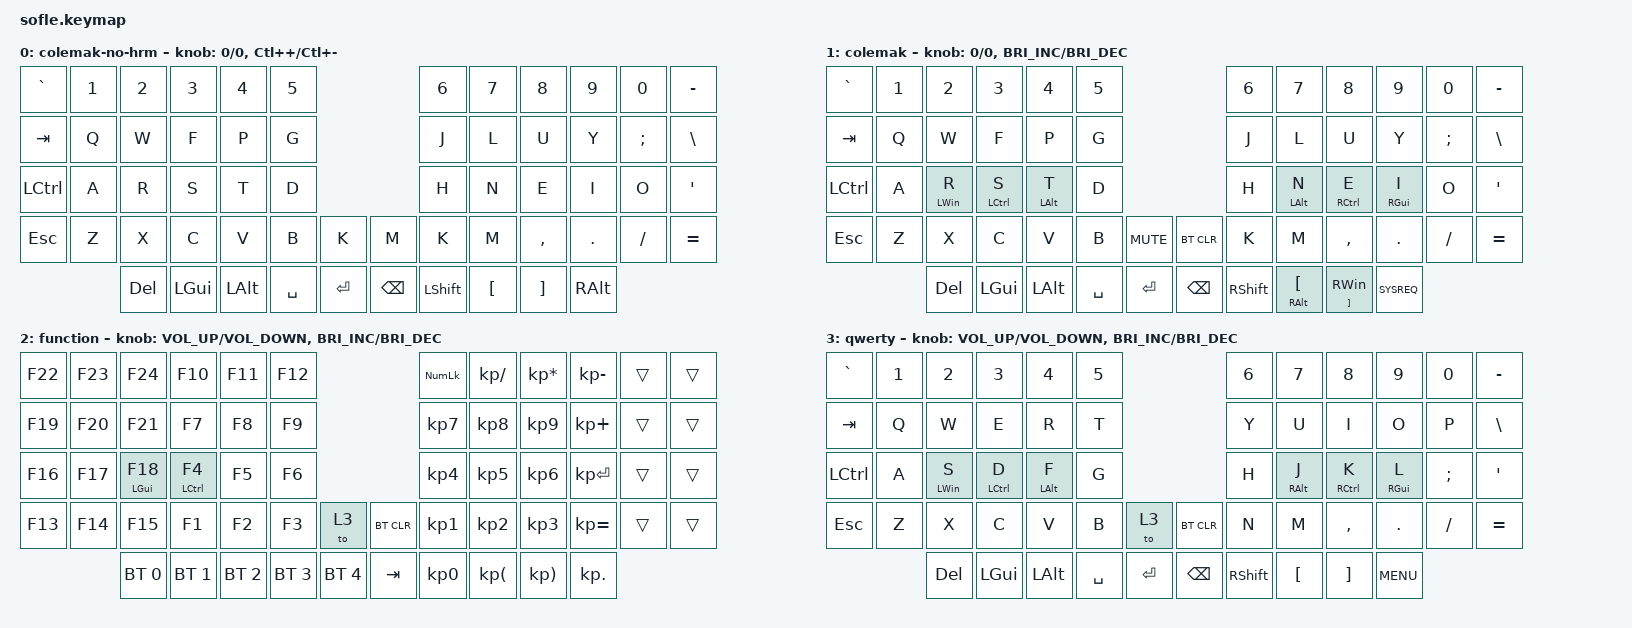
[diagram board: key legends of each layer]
/*
 * Copyright (c) 2020 The ZMK Contributors
 *
 * SPDX-License-Identifier: MIT
 */

#define ZMK_POINTING_DEFAULT_MOVE_VAL 1200  // 600
#define ZMK_POINTING_DEFAULT_SCRL_VAL 25   // 10

#include <behaviors.dtsi>
#include <dt-bindings/zmk/bt.h>
#include <dt-bindings/zmk/keys.h>

#define BASE 0
#define LOWER 1
#define RAISE 2
#define ADJUST 3

&msc {
    acceleration-exponent = <1>;      // 0
    time-to-max-speed-ms = <100>;       // 300
    delay-ms = <0>;                   // 0
};

&mmv {
    time-to-max-speed-ms = <500>;
    acceleration-exponent = <1>;
    trigger-period-ms = <16>;
};

/ {
    hml: hml {
        compatible = "zmk,behavior-hold-tap";
        label = "home_row_mod_left";
        bindings = <&kp>, <&kp>;

        #binding-cells = <2>;
        tapping-term-ms = <200>;
        quick-tap-ms = <175>;
        require-prior-idle-ms = <150>;
        flavor = "balanced";
        hold-trigger-key-positions = <43 44 55 56 31 6 7 18 19 30 31 7 8 9 10 11 19 20 21 22 23 31 32 33 34 35 45 46 47 48 49 57 58 59>;
        hold-trigger-on-release;
    };

    hmr: hmr {
        compatible = "zmk,behavior-hold-tap";
        label = "home_row_mod_right";
        bindings = <&kp>, <&kp>;

        #binding-cells = <2>;
        tapping-term-ms = <200>;
        quick-tap-ms = <175>;
        require-prior-idle-ms = <150>;
        flavor = "balanced";
        hold-trigger-key-positions = <43 44 55 56 31 6 7 18 19 30 31 7 8 9 10 11 19 20 21 22 23 31 32 33 34 35 45 46 47 48 49 57 58 59>;
        hold-trigger-on-release;
    };

    enc_shift_up: enc_shift_up {
        compatible = "zmk,behavior-mod-morph";
        label = "ENC_SHIFT_UP";
        bindings = <&kp C_VOLUME_UP>, <&kp C_BRIGHTNESS_INC>;

        #binding-cells = <0>;
        mods = <(MOD_LSFT|MOD_RSFT)>;
    };

    enc_shift_down: enc_shift_down {
        compatible = "zmk,behavior-mod-morph";
        label = "ENC_SHIFT_DOWN";
        bindings = <&kp C_VOLUME_DOWN>, <&kp C_BRIGHTNESS_DEC>;

        #binding-cells = <0>;
        mods = <(MOD_LSFT|MOD_RSFT)>;
    };

    inc_dec_gresc: inc_dec_gresc {
        compatible = "zmk,behavior-sensor-rotate-var";
        label = "INC_DEC_GRESC";
        #sensor-binding-cells = <2>;
        bindings = <&enc_gui_up>, <&enc_gui_down>;
    };

    enc_ctrl_up: enc_ctrl_up {
        compatible = "zmk,behavior-mod-morph";
        label = "ENC_CTRL_UP";
        bindings = <&enc_shift_up>, <&bt BT_NXT>;

        #binding-cells = <0>;
        mods = <(MOD_LCTL|MOD_RCTL)>;
    };

    enc_ctrl_down: enc_ctrl_down {
        compatible = "zmk,behavior-mod-morph";
        label = "ENC_CTRL_DOWN";
        bindings = <&enc_shift_down>, <&bt BT_PRV>;

        #binding-cells = <0>;
        mods = <(MOD_LCTL|MOD_RCTL)>;
    };

    enc_alt_up: enc_alt_up {
        compatible = "zmk,behavior-mod-morph";
        label = "ENC_ALT_UP";
        bindings = <&enc_ctrl_up>, <&kp LA(TAB)>;

        #binding-cells = <0>;
        mods = <(MOD_LALT|MOD_RALT)>;
    };

    enc_alt_down: enc_alt_down {
        compatible = "zmk,behavior-mod-morph";
        label = "ENC_ALT_DOWN";
        bindings = <&enc_ctrl_down>, <&kp LA(LS(TAB))>;

        #binding-cells = <0>;
        mods = <(MOD_LALT|MOD_RALT)>;
    };

    enc_gui_up: enc_gui_up {
        compatible = "zmk,behavior-mod-morph";
        label = "ENC_GUI_UP";
        bindings = <&enc_alt_up>, <&kp LG(LC(RIGHT))>;

        #binding-cells = <0>;
        mods = <(MOD_RGUI|MOD_LGUI)>;
    };

    enc_gui_down: enc_gui_down {
        compatible = "zmk,behavior-mod-morph";
        label = "ENC_GUI_DOWN";
        bindings = <&enc_alt_down>, <&kp LG(LC(LEFT))>;

        #binding-cells = <0>;
        mods = <(MOD_RGUI|MOD_LGUI)>;
    };

    // Activate ADJUST layer by pressing raise and lower

    conditional_layers { compatible = "zmk,conditional-layers"; };

    behaviors {
    };

    keymap {
        compatible = "zmk,keymap";

        colemak-no-hrm {
            bindings = <
&kp GRAVE   &kp N1  &kp N2      &kp N3        &kp N4        &kp N5                                 &kp N6          &kp N7            &kp N8             &kp N9         &kp N0    &kp MINUS
&kp TAB     &kp Q   &kp W       &kp F         &kp P         &kp G                                  &kp J           &kp L             &kp U              &kp Y          &kp SEMI  &kp BSLH
&kp LCTRL   &kp A   &kp R       &kp S         &kp T         &kp D                                  &kp H           &kp N             &kp E              &kp I          &kp O     &kp APOS
&kp ESCAPE  &kp Z   &kp X       &kp C         &kp V         &kp B      &kp K        &kp M          &kp K           &kp M             &kp COMMA          &kp DOT        &kp FSLH  &kp EQUAL
                    &kp DELETE  &kp LEFT_GUI  &kp LEFT_ALT  &kp SPACE  &kp ENTER    &kp BACKSPACE  &kp LEFT_SHIFT  &kp LEFT_BRACKET  &kp RIGHT_BRACKET  &kp RIGHT_ALT
            >;

            sensor-bindings =
                <&inc_dec_gresc 0 0>,
                <&inc_dec_kp LC(PLUS) LC(MINUS)>;
        };

        colemak {
            display-name = "colemak";
            bindings = <
&kp GRAVE   &kp N1  &kp N2           &kp N3        &kp N4           &kp N5                                  &kp N6           &kp N7                       &kp N8                        &kp N9            &kp N0         &kp MINUS
&kp TAB     &kp Q   &kp W            &kp F         &kp P            &kp G                                   &kp J            &kp L                        &kp U                         &kp Y             &kp SEMICOLON  &kp BACKSLASH
&kp LCTRL   &kp A   &hml LEFT_WIN R  &hml LCTRL S  &hml LEFT_ALT T  &kp D                                   &kp H            &hmr LEFT_ALT N              &hmr RCTRL E                  &hmr RIGHT_GUI I  &kp O          &kp SQT
&kp ESCAPE  &kp Z   &kp X            &kp C         &kp V            &kp B      &kp C_MUTE    &bt BT_CLR     &kp K            &kp M                        &kp COMMA                     &kp DOT           &kp FSLH       &kp EQUAL
                    &kp DELETE       &kp LEFT_GUI  &kp LEFT_ALT     &kp SPACE  &kp RET       &kp BACKSPACE  &kp RIGHT_SHIFT  &hmr RIGHT_ALT LEFT_BRACKET  &hmr RIGHT_BRACKET RIGHT_WIN  &kp SYSREQ
            >;

            sensor-bindings =
                <&inc_dec_gresc 0 0>,
                <&inc_dec_kp C_BRIGHTNESS_INC C_BRIGHTNESS_DEC>;
        };

        function {
            bindings = <
&kp F22  &kp F23  &kp F24        &kp F10        &kp F11       &kp F12                                   &kp KP_NUMLOCK   &kp KP_DIVIDE            &kp KP_MULTIPLY           &kp KP_MINUS  &trans  &trans
&kp F19  &kp F20  &kp F21        &kp F7         &kp F8        &kp F9                                    &kp KP_N7        &kp KP_NUMBER_8          &kp KP_NUMBER_9           &kp KP_PLUS   &trans  &trans
&kp F16  &kp F17  &hml LGUI F18  &hml LCTRL F4  &kp F5        &kp F6                                    &kp KP_NUMBER_4  &kp KP_NUMBER_5          &kp KP_NUMBER_6           &kp KP_ENTER  &trans  &trans
&kp F13  &kp F14  &kp F15        &kp F1         &kp F2        &kp F3        &to 3           &bt BT_CLR  &kp KP_NUMBER_1  &kp KP_NUMBER_2          &kp KP_N3                 &kp KP_EQUAL  &trans  &trans
                  &bt BT_SEL 0   &bt BT_SEL 1   &bt BT_SEL 2  &bt BT_SEL 3  &bt BT_SEL 4    &kp TAB     &kp KP_NUMBER_0  &kp KP_LEFT_PARENTHESIS  &kp KP_RIGHT_PARENTHESIS  &kp KP_DOT
            >;

            sensor-bindings =
                <&inc_dec_kp C_VOLUME_UP C_VOLUME_DOWN>,
                <&inc_dec_kp C_BRIGHTNESS_INC C_BRIGHTNESS_DEC>;
        };

        qwerty {
            display-name = "qwerty";

            // ------------------------------------------------------------------------------------------------------------
            // |  ESC  |  1  |  2  |  3   |  4   |  5   |                   |  6   |  7    |  8    |  9   |   0   | BKSPC |
            // |  TAB  |  Q  |  W  |  E   |  R   |  T   |                   |  Y   |  U    |  I    |  O   |   P   | DEL   |
            // | SHIFT |  A  |  S  |  D   |  F   |  G   |                   |  H   |  J    |  K    |  L   |   ;   |   '   |
            // |  CTRL |  Z  |  X  |  C   |  V   |  B   |  MUTE  |  |       |  N   |  M    |  ,    |  .   |   /   | SHIFT |
            //               | GUI | ALT  | CTRL | LOWER|  ENTER |  | SPACE | RAISE| CTRL  | ALT   | GUI  |

            bindings = <
&kp GRAVE   &kp N1  &kp N2           &kp N3        &kp N4           &kp N5                               &kp N6           &kp N7            &kp N8             &kp N9            &kp N0    &kp MINUS
&kp TAB     &kp Q   &kp W            &kp E         &kp R            &kp T                                &kp Y            &kp U             &kp I              &kp O             &kp P     &kp BACKSLASH
&kp LCTRL   &kp A   &hml LEFT_WIN S  &hml LCTRL D  &hml LEFT_ALT F  &kp G                                &kp H            &hmr RIGHT_ALT J  &hmr RCTRL K       &hmr RIGHT_GUI L  &kp SEMI  &kp SQT
&kp ESCAPE  &kp Z   &kp X            &kp C         &kp V            &kp B      &to 3      &bt BT_CLR     &kp N            &kp M             &kp COMMA          &kp DOT           &kp FSLH  &kp EQUAL
                    &kp DELETE       &kp LEFT_GUI  &kp LEFT_ALT     &kp SPACE  &kp RET    &kp BACKSPACE  &kp RIGHT_SHIFT  &kp LEFT_BRACKET  &kp RIGHT_BRACKET  &kp C_MENU
            >;

            sensor-bindings =
                <&inc_dec_kp C_VOLUME_UP C_VOLUME_DOWN>,
                <&inc_dec_kp C_BRIGHTNESS_INC C_BRIGHTNESS_DEC>;
        };
    };
};
